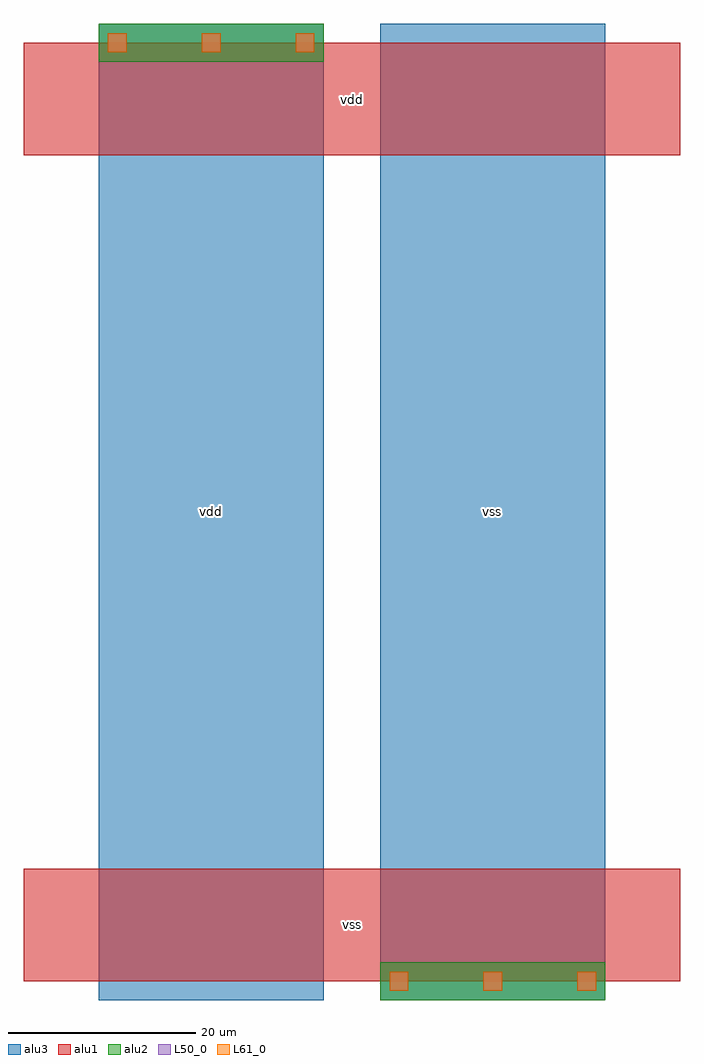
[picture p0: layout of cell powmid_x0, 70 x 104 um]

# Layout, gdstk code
import gdstk
lib = gdstk.Library(unit=1e-6, precision=1e-09)
def R(c, l, rs):  # rectangles x0, y0, x1, y1
    for r in rs: c.add(gdstk.rectangle(r[:2], r[2:], *l))
def A(c, l, x, y, w, h, nx, ny, dx, dy):  # array of equal rectangles
    R(c, l, [(x+i*dx, y+j*dy, x+i*dx+w, y+j*dy+h) for i in range(nx) for j in range(ny)])
alu1 = (49, 0)
L50_0 = (50, 0)
alu2 = (51, 0)
L61_0 = (61, 0)
alu3 = (62, 0)

powmid_x0 = lib.new_cell('powmid_x0')
R(powmid_x0, alu1, [(0,0,70,12), (0,88,70,100)])
A(powmid_x0, L50_0, 39, -1, 2, 2, 3, 1, 10, 0)
A(powmid_x0, L50_0, 9, 99, 2, 2, 3, 1, 10, 0)
R(powmid_x0, alu2, [(38,-2,62,2), (8,98,32,102)])
A(powmid_x0, L61_0, 39, -1, 2, 2, 3, 1, 10, 0)
A(powmid_x0, L61_0, 9, 99, 2, 2, 3, 1, 10, 0)
R(powmid_x0, alu3, [(8,-2,32,102), (38,-2,62,102)])
powmid_x0.add(gdstk.Label('vss', (35,6), layer=49, texttype=0))
powmid_x0.add(gdstk.Label('vdd', (35,94), layer=49, texttype=0))
powmid_x0.add(gdstk.Label('vdd', (20,50), layer=62, texttype=0))
powmid_x0.add(gdstk.Label('vss', (50,50), layer=62, texttype=0))

lib.write_gds('powmid_x0.gds')
